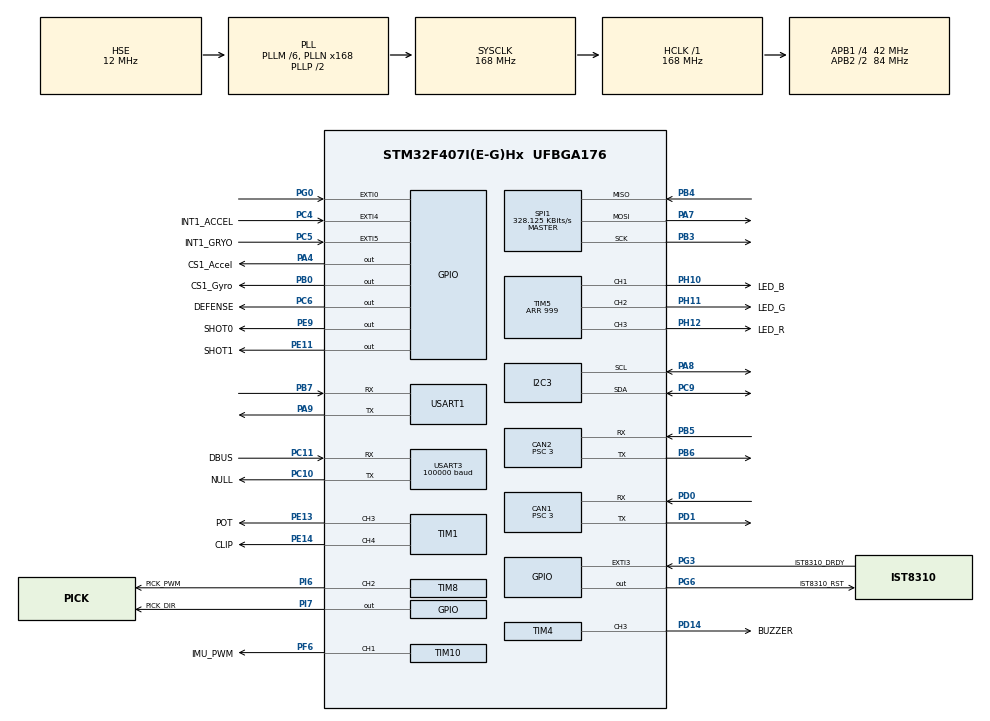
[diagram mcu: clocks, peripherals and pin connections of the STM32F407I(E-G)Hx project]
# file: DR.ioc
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CAN1.ABOM=ENABLE
CAN1.AWUM=ENABLE
CAN1.BS1=CAN_BS1_10TQ
CAN1.BS2=CAN_BS2_3TQ
CAN1.CalculateBaudRate=1000000
CAN1.CalculateTimeBit=999.99
CAN1.CalculateTimeQuantum=71.42857142857143
CAN1.NART=ENABLE
CAN1.Prescaler=3
CAN2.ABOM=ENABLE
CAN2.AWUM=ENABLE
CAN2.BS1=CAN_BS1_10TQ
CAN2.BS2=CAN_BS2_3TQ
CAN2.CalculateBaudRate=1000000
CAN2.CalculateTimeBit=999.99
CAN2.CalculateTimeQuantum=71.42857142857143
CAN2.NART=ENABLE
CAN2.Prescaler=3
Dma.Request0=USART3_RX
Dma.Request1=SPI1_RX
Dma.Request2=SPI1_TX
Dma.Request3=USART1_RX
Dma.Request4=USART1_TX
Dma.SPI1_RX.1.Direction=DMA_PERIPH_TO_MEMORY
Dma.SPI1_RX.1.FIFOMode=DMA_FIFOMODE_DISABLE
Dma.SPI1_RX.1.Instance=DMA2_Stream2
Dma.SPI1_RX.1.MemDataAlignment=DMA_MDATAALIGN_BYTE
Dma.SPI1_RX.1.MemInc=DMA_MINC_ENABLE
Dma.SPI1_RX.1.Mode=DMA_NORMAL
Dma.SPI1_RX.1.PeriphDataAlignment=DMA_PDATAALIGN_BYTE
Dma.SPI1_RX.1.PeriphInc=DMA_PINC_DISABLE
Dma.SPI1_RX.1.Priority=DMA_PRIORITY_VERY_HIGH
Dma.SPI1_TX.2.Direction=DMA_MEMORY_TO_PERIPH
Dma.SPI1_TX.2.FIFOMode=DMA_FIFOMODE_DISABLE
Dma.SPI1_TX.2.Instance=DMA2_Stream3
Dma.SPI1_TX.2.MemDataAlignment=DMA_MDATAALIGN_BYTE
Dma.SPI1_TX.2.MemInc=DMA_MINC_ENABLE
Dma.SPI1_TX.2.Mode=DMA_NORMAL
Dma.SPI1_TX.2.PeriphDataAlignment=DMA_PDATAALIGN_BYTE
Dma.SPI1_TX.2.PeriphInc=DMA_PINC_DISABLE
Dma.SPI1_TX.2.Priority=DMA_PRIORITY_HIGH
Dma.USART1_RX.3.Direction=DMA_PERIPH_TO_MEMORY
Dma.USART1_RX.3.FIFOMode=DMA_FIFOMODE_DISABLE
Dma.USART1_RX.3.Instance=DMA2_Stream5
Dma.USART1_RX.3.MemDataAlignment=DMA_MDATAALIGN_BYTE
Dma.USART1_RX.3.MemInc=DMA_MINC_ENABLE
Dma.USART1_RX.3.Mode=DMA_NORMAL
Dma.USART1_RX.3.PeriphDataAlignment=DMA_PDATAALIGN_BYTE
Dma.USART1_RX.3.PeriphInc=DMA_PINC_DISABLE
Dma.USART1_RX.3.Priority=DMA_PRIORITY_VERY_HIGH
Dma.USART1_TX.4.Direction=DMA_MEMORY_TO_PERIPH
Dma.USART1_TX.4.FIFOMode=DMA_FIFOMODE_DISABLE
Dma.USART1_TX.4.Instance=DMA2_Stream7
Dma.USART1_TX.4.MemDataAlignment=DMA_MDATAALIGN_BYTE
Dma.USART1_TX.4.MemInc=DMA_MINC_ENABLE
Dma.USART1_TX.4.Mode=DMA_NORMAL
Dma.USART1_TX.4.PeriphDataAlignment=DMA_PDATAALIGN_BYTE
Dma.USART1_TX.4.PeriphInc=DMA_PINC_DISABLE
Dma.USART1_TX.4.Priority=DMA_PRIORITY_HIGH
Dma.USART3_RX.0.Direction=DMA_PERIPH_TO_MEMORY
Dma.USART3_RX.0.FIFOMode=DMA_FIFOMODE_DISABLE
Dma.USART3_RX.0.Instance=DMA1_Stream1
Dma.USART3_RX.0.MemDataAlignment=DMA_MDATAALIGN_BYTE
Dma.USART3_RX.0.MemInc=DMA_MINC_ENABLE
Dma.USART3_RX.0.Mode=DMA_CIRCULAR
Dma.USART3_RX.0.PeriphDataAlignment=DMA_PDATAALIGN_BYTE
Dma.USART3_RX.0.PeriphInc=DMA_PINC_DISABLE
Dma.USART3_RX.0.Priority=DMA_PRIORITY_VERY_HIGH
FREERTOS.INCLUDE_pcTaskGetTaskName=1
FREERTOS.INCLUDE_xTaskGetHandle=1
FREERTOS.Tasks01=led,8,128,task_led,As weak,NULL,Static,ledBuffer,ledControlBlock;chassis,48,512,task_chassis,As external,NULL,Static,chssisBuffer,chssisControlBlock;ins,40,512,task_ins,As external,NULL,Static,insBuffer,insControlBlock;defense,48,256,task_defense,As external,NULL,Static,defenseBuffer,defenseControlBlock
I2C3.I2C_Mode=I2C_Fast
Mcu.Family=STM32F4
Mcu.Name=STM32F407I(E-G)Hx
Mcu.Package=UFBGA176
NVIC.CAN1_RX0_IRQn=true\:5\:0\:false\:false\:true\:true\:true\:true
NVIC.DMA1_Stream1_IRQn=true\:5\:0\:false\:false\:true\:true\:false\:true
NVIC.DMA2_Stream2_IRQn=true\:5\:0\:false\:false\:false\:true\:false\:true
NVIC.DMA2_Stream3_IRQn=true\:5\:0\:false\:false\:true\:true\:false\:true
NVIC.DMA2_Stream5_IRQn=true\:5\:0\:false\:false\:true\:true\:false\:true
NVIC.DMA2_Stream7_IRQn=true\:5\:0\:false\:false\:true\:true\:false\:true
NVIC.EXTI0_IRQn=true\:5\:0\:false\:false\:true\:true\:true\:true
NVIC.EXTI3_IRQn=true\:5\:0\:false\:false\:true\:true\:true\:true
NVIC.EXTI4_IRQn=true\:5\:0\:false\:false\:true\:true\:true\:true
NVIC.EXTI9_5_IRQn=true\:5\:0\:false\:false\:true\:true\:true\:true
NVIC.PriorityGroup=NVIC_PRIORITYGROUP_4
NVIC.TIM2_IRQn=true\:5\:0\:false\:false\:false\:true\:true\:true
NVIC.USART1_IRQn=true\:5\:0\:false\:false\:false\:true\:true\:true
NVIC.USART3_IRQn=true\:5\:0\:false\:false\:false\:true\:true\:true
PA13.Mode=Serial_Wire
PA13.Signal=SYS_JTMS-SWDIO
PA14.Mode=Serial_Wire
PA14.Signal=SYS_JTCK-SWCLK
PA4.GPIO_Label=CS1_Accel
PA4.GPIO_PuPd=GPIO_PULLUP
PA4.GPIO_Speed=GPIO_SPEED_FREQ_HIGH
PA4.PinState=GPIO_PIN_SET
PA4.Signal=GPIO_Output
PA7.Mode=Full_Duplex_Master
PA7.Signal=SPI1_MOSI
PA8.Mode=I2C
PA8.Signal=I2C3_SCL
PA9.Mode=Asynchronous
PA9.Signal=USART1_TX
PB0.GPIO_Label=CS1_Gyro
PB0.GPIO_PuPd=GPIO_PULLUP
PB0.GPIO_Speed=GPIO_SPEED_FREQ_HIGH
PB0.PinState=GPIO_PIN_SET
PB0.Signal=GPIO_Output
PB3.Mode=Full_Duplex_Master
PB3.Signal=SPI1_SCK
PB4.Mode=Full_Duplex_Master
PB4.Signal=SPI1_MISO
PB5.Mode=CAN_Activate
PB5.Signal=CAN2_RX
PB6.Mode=CAN_Activate
PB6.Signal=CAN2_TX
PB7.Mode=Asynchronous
PB7.Signal=USART1_RX
PC10.GPIO_Label=NULL
PC10.Mode=Asynchronous
PC10.Signal=USART3_TX
PC11.GPIO_Label=DBUS
PC11.Mode=Asynchronous
PC11.Signal=USART3_RX
PC14-OSC32_IN.Mode=LSE-External-Oscillator
PC14-OSC32_IN.Signal=RCC_OSC32_IN
PC15-OSC32_OUT.Mode=LSE-External-Oscillator
PC15-OSC32_OUT.Signal=RCC_OSC32_OUT
PC4.GPIO_Label=INT1_ACCEL
PC4.GPIO_ModeDefaultEXTI=GPIO_MODE_IT_FALLING
PC4.GPIO_PuPd=GPIO_PULLUP
PC4.Signal=GPXTI4
PC5.GPIO_Label=INT1_GRYO
PC5.GPIO_ModeDefaultEXTI=GPIO_MODE_IT_FALLING
PC5.GPIO_PuPd=GPIO_PULLUP
PC5.Signal=GPXTI5
PC6.GPIO_Label=DEFENSE
PC6.Signal=GPIO_Output
PC9.Mode=I2C
PC9.Signal=I2C3_SDA
PD0.Mode=CAN_Activate
PD0.Signal=CAN1_RX
PD1.Mode=CAN_Activate
PD1.Signal=CAN1_TX
PD14.GPIO_Label=BUZZER
PD14.Signal=S_TIM4_CH3
PE11.GPIO_Label=SHOT1
PE11.GPIO_ModeDefaultOutputPP=GPIO_MODE_OUTPUT_PP
PE11.GPIO_PuPd=GPIO_NOPULL
PE11.Signal=GPIO_Output
PE13.GPIO_Label=POT
PE13.Signal=S_TIM1_CH3
PE14.GPIO_Label=CLIP
PE14.Signal=S_TIM1_CH4
PE9.GPIO_Label=SHOT0
PE9.Signal=GPIO_Output
PF6.GPIO_Label=IMU_PWM
PF6.GPIO_ModeDefaultPP=GPIO_MODE_AF_OD
PF6.Signal=S_TIM10_CH1
PG0.GPIO_ModeDefaultEXTI=GPIO_MODE_IT_FALLING
PG0.GPIO_PuPd=GPIO_PULLUP
PG0.Signal=GPXTI0
PG3.GPIO_Label=IST8310_DRDY
PG3.GPIO_ModeDefaultEXTI=GPIO_MODE_IT_FALLING
PG3.GPIO_PuPd=GPIO_PULLUP
PG3.Signal=GPXTI3
PG6.GPIO_Label=IST8310_RST
PG6.GPIO_PuPd=GPIO_PULLUP
PG6.GPIO_Speed=GPIO_SPEED_FREQ_MEDIUM
PG6.PinState=GPIO_PIN_SET
PG6.Signal=GPIO_Output
PH0-OSC_IN.Mode=HSE-External-Oscillator
PH0-OSC_IN.Signal=RCC_OSC_IN
PH1-OSC_OUT.Mode=HSE-External-Oscillator
PH1-OSC_OUT.Signal=RCC_OSC_OUT
PH10.GPIO_Label=LED_B
PH10.Signal=S_TIM5_CH1
PH11.GPIO_Label=LED_G
PH11.Signal=S_TIM5_CH2
PH12.GPIO_Label=LED_R
PH12.Signal=S_TIM5_CH3
PI6.GPIO_Label=PICK_PWM
PI6.GPIO_ModeDefaultPP=GPIO_MODE_AF_OD
PI6.Signal=S_TIM8_CH2
PI7.GPIO_Label=PICK_DIR
PI7.GPIO_ModeDefaultOutputPP=GPIO_MODE_OUTPUT_OD
PI7.GPIO_PuPd=GPIO_NOPULL
PI7.Signal=GPIO_Output
ProjectManager.HeapSize=0x200
ProjectManager.StackSize=0x400
ProjectManager.TargetToolchain=Makefile
RCC.48MHZClocksFreq_Value=84000000
RCC.AHBFreq_Value=168000000
RCC.APB1CLKDivider=RCC_HCLK_DIV4
RCC.APB1Freq_Value=42000000
RCC.APB1TimFreq_Value=84000000
RCC.APB2CLKDivider=RCC_HCLK_DIV2
RCC.APB2Freq_Value=84000000
RCC.APB2TimFreq_Value=168000000
RCC.CortexFreq_Value=168000000
RCC.HCLKFreq_Value=168000000
RCC.HSE_VALUE=12000000
RCC.HSI_VALUE=16000000
RCC.PLLM=6
RCC.PLLN=168
RCC.PLLSourceVirtual=RCC_PLLSOURCE_HSE
RCC.SYSCLKFreq_VALUE=168000000
RCC.SYSCLKSource=RCC_SYSCLKSOURCE_PLLCLK
RCC.VCOOutputFreq_Value=336000000
SH.S_TIM10_CH1.0=TIM10_CH1,PWM Generation1 CH1
SH.S_TIM1_CH3.0=TIM1_CH3,PWM Generation3 CH3
SH.S_TIM1_CH4.0=TIM1_CH4,PWM Generation4 CH4
SH.S_TIM4_CH3.0=TIM4_CH3,PWM Generation3 CH3
SH.S_TIM5_CH1.0=TIM5_CH1,PWM Generation1 CH1
SH.S_TIM5_CH2.0=TIM5_CH2,PWM Generation2 CH2
SH.S_TIM5_CH3.0=TIM5_CH3,PWM Generation3 CH3
SH.S_TIM8_CH2.0=TIM8_CH2,PWM Generation2 CH2
SPI1.BaudRatePrescaler=SPI_BAUDRATEPRESCALER_256
SPI1.CLKPhase=SPI_PHASE_2EDGE
SPI1.CLKPolarity=SPI_POLARITY_HIGH
SPI1.CalculateBaudRate=328.125 KBits/s
SPI1.Direction=SPI_DIRECTION_2LINES
SPI1.Mode=SPI_MODE_MASTER
SPI1.VirtualType=VM_MASTER
TIM1.Channel-PWM\ Generation3\ CH3=TIM_CHANNEL_3
TIM1.Channel-PWM\ Generation4\ CH4=TIM_CHANNEL_4
TIM10.AutoReloadPreload=TIM_AUTORELOAD_PRELOAD_ENABLE
TIM10.Channel=TIM_CHANNEL_1
TIM10.OCPolarity_1=TIM_OCPOLARITY_HIGH
TIM10.Period=4999
TIM4.Channel-PWM\ Generation3\ CH3=TIM_CHANNEL_3
TIM4.Period=20999
TIM5.Channel-PWM\ Generation1\ CH1=TIM_CHANNEL_1
TIM5.Channel-PWM\ Generation2\ CH2=TIM_CHANNEL_2
TIM5.Channel-PWM\ Generation3\ CH3=TIM_CHANNEL_3
TIM5.Period=999
TIM5.Pulse-PWM\ Generation1\ CH1=500
TIM5.Pulse-PWM\ Generation2\ CH2=500
TIM5.Pulse-PWM\ Generation3\ CH3=500
TIM8.AutoReloadPreload=TIM_AUTORELOAD_PRELOAD_ENABLE
TIM8.Channel-PWM\ Generation2\ CH2=TIM_CHANNEL_2
TIM8.Period=65335
TIM8.TIM_MasterOutputTrigger=TIM_TRGO_UPDATE
TIM8.TIM_MasterSlaveMode=TIM_MASTERSLAVEMODE_ENABLE
USART1.VirtualMode=VM_ASYNC
USART3.BaudRate=100000
USART3.Mode=MODE_RX
USART3.Parity=PARITY_EVEN
USART3.VirtualMode=VM_ASYNC
VP_FREERTOS_VS_CMSIS_V2.Mode=CMSIS_V2
VP_TIM10_VS_ClockSourceINT.Mode=Enable_Timer
VP_TIM2_VS_ClockSourceITR.Mode=TriggerSource_ITR1
VP_TIM2_VS_ControllerModeClock.Mode=Clock Mode
board=custom

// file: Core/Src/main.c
/* USER CODE BEGIN Header */
/**
 ******************************************************************************
 * @file           : main.c
 * @brief          : Main program body
 ******************************************************************************
 * @attention
 *
 * <h2><center>&copy; Copyright (c) 2021 STMicroelectronics.
 * All rights reserved.</center></h2>
 *
 * This software component is licensed by ST under BSD 3-Clause license,
 * the "License"; You may not use this file except in compliance with the
 * License. You may obtain a copy of the License at:
 *                        opensource.org/licenses/BSD-3-Clause
 *
 ******************************************************************************
 */
/* USER CODE END Header */
#include "main.h"
#include "cmsis_os.h"
#include "can.h"
#include "dma.h"
#include "i2c.h"
#include "spi.h"
#include "tim.h"
#include "usart.h"
#include "gpio.h"

/* USER CODE BEGIN Includes */
#include "bsp.h"
#include "ctrl.h"
/* USER CODE END Includes */

void SystemClock_Config(void);
void MX_FREERTOS_Init(void);

int main(void)
{

    /* MCU Configuration--------------------------------------------------------*/

    /* Reset of all peripherals, Initializes the Flash interface and the Systick. */
    HAL_Init();

    /* Configure the system clock */
    SystemClock_Config();

    /* Initialize all configured peripherals */
    MX_GPIO_Init();
    MX_DMA_Init();
    MX_USART3_UART_Init();
    MX_CAN1_Init();
    MX_TIM4_Init();
    MX_TIM5_Init();
    MX_SPI1_Init();
    MX_I2C3_Init();
    MX_TIM10_Init();
    MX_TIM8_Init();
    MX_USART1_UART_Init();
    MX_TIM1_Init();
    MX_CAN2_Init();
    MX_TIM2_Init();
    /* USER CODE BEGIN 2 */
    delay_init();
    ctrl_rc_init();
    os_dma_init();
    can_filter_init();
    spi_dma_init(&hspi1);
    //i2c_dma_tx_init(&hi2c3);
    os_printf("OK\r\n");
    /* USER CODE END 2 */

    /* Init scheduler */
    osKernelInitialize(); /* Call init function for freertos objects (in freertos.c) */
    MX_FREERTOS_Init();
    /* Start scheduler */
    osKernelStart();

    /* We should never get here as control is now taken by the scheduler */
    /* Infinite loop */
    while (1)
    {

    }
}

void SystemClock_Config(void)
{
    RCC_OscInitTypeDef RCC_OscInitStruct = {0};
    RCC_ClkInitTypeDef RCC_ClkInitStruct = {0};

    /** Configure the main internal regulator output voltage
  */
    __HAL_RCC_PWR_CLK_ENABLE();
    __HAL_PWR_VOLTAGESCALING_CONFIG(PWR_REGULATOR_VOLTAGE_SCALE1);
    /** Initializes the RCC Oscillators according to the specified parameters
  * in the RCC_OscInitTypeDef structure.
  */
    RCC_OscInitStruct.OscillatorType = RCC_OSCILLATORTYPE_HSE;
    RCC_OscInitStruct.HSEState = RCC_HSE_ON;
    RCC_OscInitStruct.PLL.PLLState = RCC_PLL_ON;
    RCC_OscInitStruct.PLL.PLLSource = RCC_PLLSOURCE_HSE;
    RCC_OscInitStruct.PLL.PLLM = 6;
    RCC_OscInitStruct.PLL.PLLN = 168;
    RCC_OscInitStruct.PLL.PLLP = RCC_PLLP_DIV2;
    RCC_OscInitStruct.PLL.PLLQ = 4;
    if (HAL_RCC_OscConfig(&RCC_OscInitStruct) != HAL_OK)
    {
        Error_Handler();
    }
    /** Initializes the CPU, AHB and APB buses clocks
  */
    RCC_ClkInitStruct.ClockType = RCC_CLOCKTYPE_HCLK | RCC_CLOCKTYPE_SYSCLK | RCC_CLOCKTYPE_PCLK1 | RCC_CLOCKTYPE_PCLK2;
    RCC_ClkInitStruct.SYSCLKSource = RCC_SYSCLKSOURCE_PLLCLK;
    RCC_ClkInitStruct.AHBCLKDivider = RCC_SYSCLK_DIV1;
    RCC_ClkInitStruct.APB1CLKDivider = RCC_HCLK_DIV4;
    RCC_ClkInitStruct.APB2CLKDivider = RCC_HCLK_DIV2;

    if (HAL_RCC_ClockConfig(&RCC_ClkInitStruct, FLASH_LATENCY_5) != HAL_OK)
    {
        Error_Handler();
    }
}

void Error_Handler(void)
{
    /* USER CODE BEGIN Error_Handler_Debug */
    /* User can add his own implementation to report the HAL error return state
     */
    __disable_irq();
    static uint8_t flag = 0;
    static uint8_t i = 0;

    delay_init();
    led_pwm_start();
    led_pwm_set(LED_R, 0);
    led_pwm_set(LED_G, 0);
    led_pwm_set(LED_B, 0);
    buzzer_start();

    while (1)
    {
        if (i == 0U)
        {
            flag = 1;
            buzzer_set(4, 0xFF);
        }
        else if (i == 0xFFU)
        {
            flag = 0;
            buzzer_set(4, 0);
        }

        delay_ms(4);

        if (flag)
        {
            i++;
        }
        else
        {
            i--;
        }
    }
    /* USER CODE END Error_Handler_Debug */
}

#ifdef USE_FULL_ASSERT
/**
  * @brief  Reports the name of the source file and the source line number
  *         where the assert_param error has occurred.
  * @param  file: pointer to the source file name
  * @param  line: assert_param error line source number
  * @retval None
  */
void assert_failed(uint8_t *file, uint32_t line)
{
    /* USER CODE BEGIN 6 */
    /* User can add his own implementation to report the file name and line
       number, ex: printf("Wrong parameters value: file %s on line %d\r\n",
       file, line) */
    /* USER CODE END 6 */
}
#endif /* USE_FULL_ASSERT */

/************************ (C) COPYRIGHT STMicroelectronics *****END OF FILE****/

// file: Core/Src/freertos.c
/* USER CODE BEGIN Header */
/**
  ******************************************************************************
  * File Name          : freertos.c
  * Description        : Code for freertos applications
  ******************************************************************************
  * @attention
  *
  * <h2><center>&copy; Copyright (c) 2021 STMicroelectronics.
  * All rights reserved.</center></h2>
  *
  * This software component is licensed by ST under Ultimate Liberty license
  * SLA0044, the "License"; You may not use this file except in compliance with
  * the License. You may obtain a copy of the License at:
  *                             www.st.com/SLA0044
  *
  ******************************************************************************
  */
/* USER CODE END Header */

#include "FreeRTOS.h"
#include "task.h"
#include "main.h"
#include "cmsis_os.h"

typedef StaticTask_t osStaticThreadDef_t;

/* Definitions for led */
osThreadId_t ledHandle;
uint32_t ledBuffer[ 128 ];
osStaticThreadDef_t ledControlBlock;
const osThreadAttr_t led_attributes = {
  .name = "led",
  .cb_mem = &ledControlBlock,
  .cb_size = sizeof(ledControlBlock),
  .stack_mem = &ledBuffer[0],
  .stack_size = sizeof(ledBuffer),
  .priority = (osPriority_t) osPriorityLow,
};
/* Definitions for chassis */
osThreadId_t chassisHandle;
uint32_t chssisBuffer[ 512 ];
osStaticThreadDef_t chssisControlBlock;
const osThreadAttr_t chassis_attributes = {
  .name = "chassis",
  .cb_mem = &chssisControlBlock,
  .cb_size = sizeof(chssisControlBlock),
  .stack_mem = &chssisBuffer[0],
  .stack_size = sizeof(chssisBuffer),
  .priority = (osPriority_t) osPriorityRealtime,
};
/* Definitions for ins */
osThreadId_t insHandle;
uint32_t insBuffer[ 512 ];
osStaticThreadDef_t insControlBlock;
const osThreadAttr_t ins_attributes = {
  .name = "ins",
  .cb_mem = &insControlBlock,
  .cb_size = sizeof(insControlBlock),
  .stack_mem = &insBuffer[0],
  .stack_size = sizeof(insBuffer),
  .priority = (osPriority_t) osPriorityHigh,
};
/* Definitions for defense */
osThreadId_t defenseHandle;
uint32_t defenseBuffer[ 256 ];
osStaticThreadDef_t defenseControlBlock;
const osThreadAttr_t defense_attributes = {
  .name = "defense",
  .cb_mem = &defenseControlBlock,
  .cb_size = sizeof(defenseControlBlock),
  .stack_mem = &defenseBuffer[0],
  .stack_size = sizeof(defenseBuffer),
  .priority = (osPriority_t) osPriorityRealtime,
};

void task_led(void *argument);
extern void task_chassis(void *argument);
extern void task_ins(void *argument);
extern void task_defense(void *argument);

void MX_FREERTOS_Init(void); /* (MISRA C 2004 rule 8.1) */

void MX_FREERTOS_Init(void) {

  /* Create the thread(s) */
  /* creation of led */
  ledHandle = osThreadNew(task_led, NULL, &led_attributes);

  /* creation of chassis */
  chassisHandle = osThreadNew(task_chassis, NULL, &chassis_attributes);

  /* creation of ins */
  insHandle = osThreadNew(task_ins, NULL, &ins_attributes);

  /* creation of defense */
  defenseHandle = osThreadNew(task_defense, NULL, &defense_attributes);

}

__weak void task_led(void *argument)
{
  /* USER CODE BEGIN task_led */
  (void)argument;
  /* Infinite loop */
  for(;;)
  {
    osDelay(1);
  }
  /* USER CODE END task_led */
}

/************************ (C) COPYRIGHT STMicroelectronics *****END OF FILE****/
